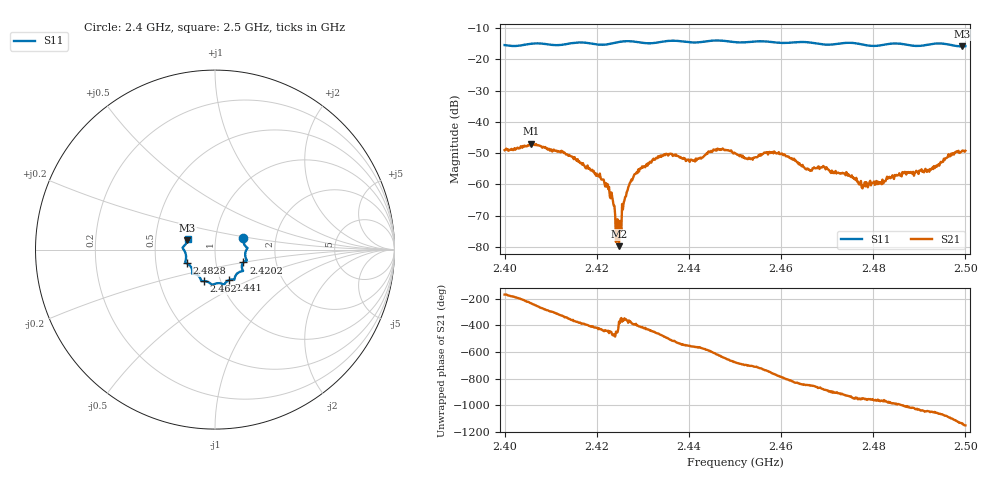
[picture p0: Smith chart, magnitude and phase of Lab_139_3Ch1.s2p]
# Hz S RI R 50
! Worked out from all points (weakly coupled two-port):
!   601 points, 2.4 GHz to 2.5 GHz, reference 50 ohm
!   highest |S21| = -46.96 dB at 2.4058 GHz (marker M1); lowest = -79.8 dB at 2.4248 GHz (marker M2)
!   lowest |S11| = -15.8 dB at 2.4993 GHz (marker M3), VSWR 1.39, Z = 36.5 + j3.83 ohm
!   |S11| at or under -10 dB: start of sweep to end of sweep
!   S12 and S22 are empty: the file has one direction only
!   S11 on the Smith chart (normalised r, x): 2.4 GHz: 1.36, +0.18; 2.4202 GHz: 1.36, -0.20; 2.441 GHz: 1.10, -0.39; 2.462 GHz: 0.84, -0.30; 2.4828 GHz: 0.72, -0.11; 2.5 GHz: 0.73, +0.09
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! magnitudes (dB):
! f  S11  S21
! 2.4 GHz  -15.4  -49.1
! 2.4058 GHz  -14.9  -47.0
! 2.4167 GHz  -14.5  -53.1
! 2.4202 GHz  -15.2  -57.3
! 2.4228 GHz  -15.0  -63.9
! 2.4243 GHz  -14.5  -75.8
! 2.4248 GHz  -14.4  -79.8
! 2.426 GHz  -14.2  -65.1
! 2.4277 GHz  -14.2  -58.7
! 2.4333 GHz  -14.5  -51.0
! 2.441 GHz  -14.6  -52.4
! 2.4458 GHz  -13.9  -48.8
! 2.45 GHz  -14.4  -50.0
! 2.462 GHz  -14.6  -51.6
! 2.4667 GHz  -14.6  -55.6
! 2.4738 GHz  -14.7  -56.6
! 2.4775 GHz  -15.2  -60.9
! 2.4828 GHz  -15.1  -58.2
! 2.4833 GHz  -15.0  -57.9
! 2.492 GHz  -15.2  -55.4
! 2.4993 GHz  -15.8  -49.2
! 2.5 GHz  -15.7  -49.2
